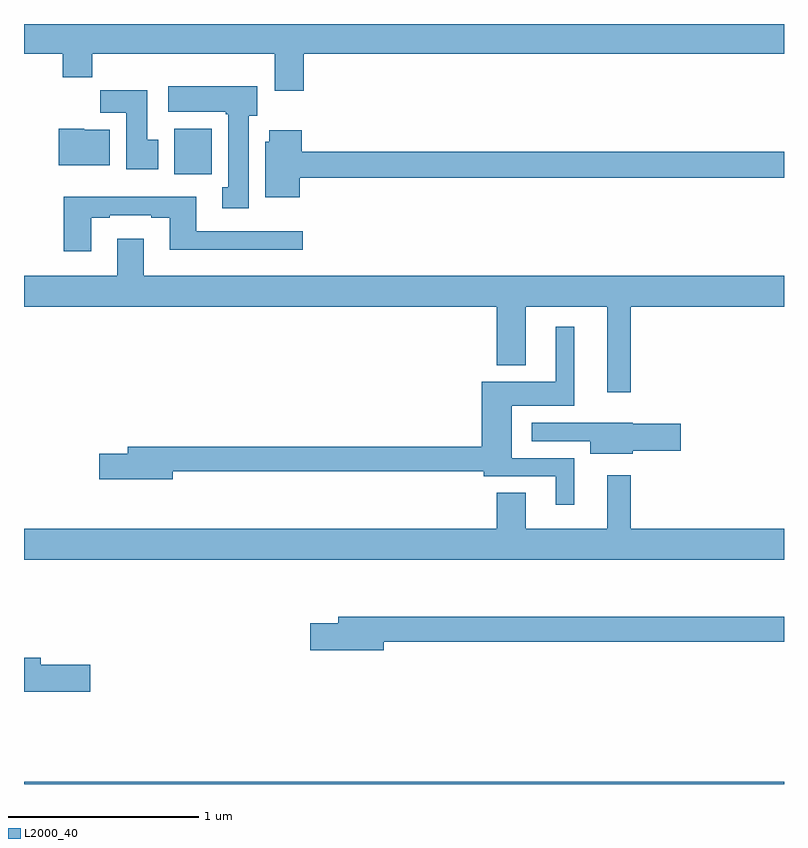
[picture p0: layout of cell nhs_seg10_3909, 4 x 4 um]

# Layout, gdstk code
import gdstk
lib = gdstk.Library(unit=1e-6, precision=1e-09)
def R(c, l, rs):  # rectangles x0, y0, x1, y1
    for r in rs: c.add(gdstk.rectangle(r[:2], r[2:], *l))
def P(c, l, *ps):  # polygons
    for p in ps: c.add(gdstk.Polygon(p, *l))
L2000_40 = (2000, 40)

nhs_seg10_3909 = lib.new_cell('nhs_seg10_3909')
R(nhs_seg10_3909, L2000_40, [(327,1268.5,331,1268.512), (327.791,1271.708,327.988,1271.95)])
P(nhs_seg10_3909, L2000_40, [(328.472,1272.344),(331,1272.344),(331,1272.5),(327,1272.5),(327,1272.344),(327.203,1272.344),(327.203,1272.22),(327.359,1272.22),(327.359,1272.344),(328.319,1272.344),(328.319,1272.15),(328.472,1272.15)],
  [(328.183,1272.018),(328.228,1272.018),(328.228,1272.172),(327.759,1272.172),(327.759,1272.038),(328.063,1272.038),(328.063,1272.025),(328.076,1272.025),(328.076,1271.642),(328.043,1271.642),(328.043,1271.529),(328.183,1271.529)],
  [(327.706,1271.892),(327.649,1271.892),(327.649,1272.151),(327.4,1272.151),(327.4,1272.032),(327.539,1272.032),(327.539,1271.736),(327.706,1271.736)],
  [(327.451,1271.944),(327.318,1271.944),(327.318,1271.95),(327.182,1271.95),(327.182,1271.756),(327.451,1271.756)],
  [(328.45,1271.692),(331,1271.692),(331,1271.828),(328.463,1271.828),(328.463,1271.941),(328.292,1271.941),(328.292,1271.88),(328.271,1271.88),(328.271,1271.588),(328.45,1271.588)],
  [(327.355,1271.481),(327.451,1271.481),(327.451,1271.493),(327.671,1271.493),(327.671,1271.481),(327.767,1271.481),(327.767,1271.312),(328.468,1271.312),(328.468,1271.409),(327.907,1271.409),(327.907,1271.59),(327.208,1271.59),(327.208,1271.304),(327.355,1271.304)],
  [(330.193,1271.012),(331,1271.012),(331,1271.176),(327.631,1271.176),(327.631,1271.371),(327.491,1271.371),(327.491,1271.176),(327,1271.176),(327,1271.012),(329.489,1271.012),(329.489,1270.703),(329.641,1270.703),(329.641,1271.012),(330.071,1271.012),(330.071,1270.563),(330.193,1270.563)],
  [(329.896,1270.215),(329.566,1270.215),(329.566,1270.49),(329.896,1270.49),(329.896,1270.906),(329.798,1270.906),(329.798,1270.618),(329.408,1270.618),(329.408,1270.274),(327.545,1270.274),(327.545,1270.238),(327.396,1270.238),(327.396,1270.103),(327.784,1270.103),(327.784,1270.146),(329.42,1270.146),(329.42,1270.119),(329.798,1270.119),(329.798,1269.969),(329.896,1269.969)],
  [(330.204,1270.255),(330.457,1270.255),(330.457,1270.397),(330.204,1270.397),(330.204,1270.402),(329.985,1270.402),(329.985,1270.401),(329.673,1270.401),(329.673,1270.305),(329.981,1270.305),(329.981,1270.238),(330.204,1270.238)],
  [(331,1269.844),(330.193,1269.844),(330.193,1270.126),(330.071,1270.126),(330.071,1269.844),(329.641,1269.844),(329.641,1270.034),(329.489,1270.034),(329.489,1269.844),(327,1269.844),(327,1269.68),(331,1269.68)],
  [(328.894,1269.25),(331,1269.25),(331,1269.379),(328.655,1269.379),(328.655,1269.345),(328.506,1269.345),(328.506,1269.203),(328.894,1269.203)],
  [(327.349,1269.128),(327.088,1269.128),(327.088,1269.164),(327,1269.164),(327,1268.986),(327.349,1268.986)])

lib.write_gds('nhs_seg10_3909.gds')
